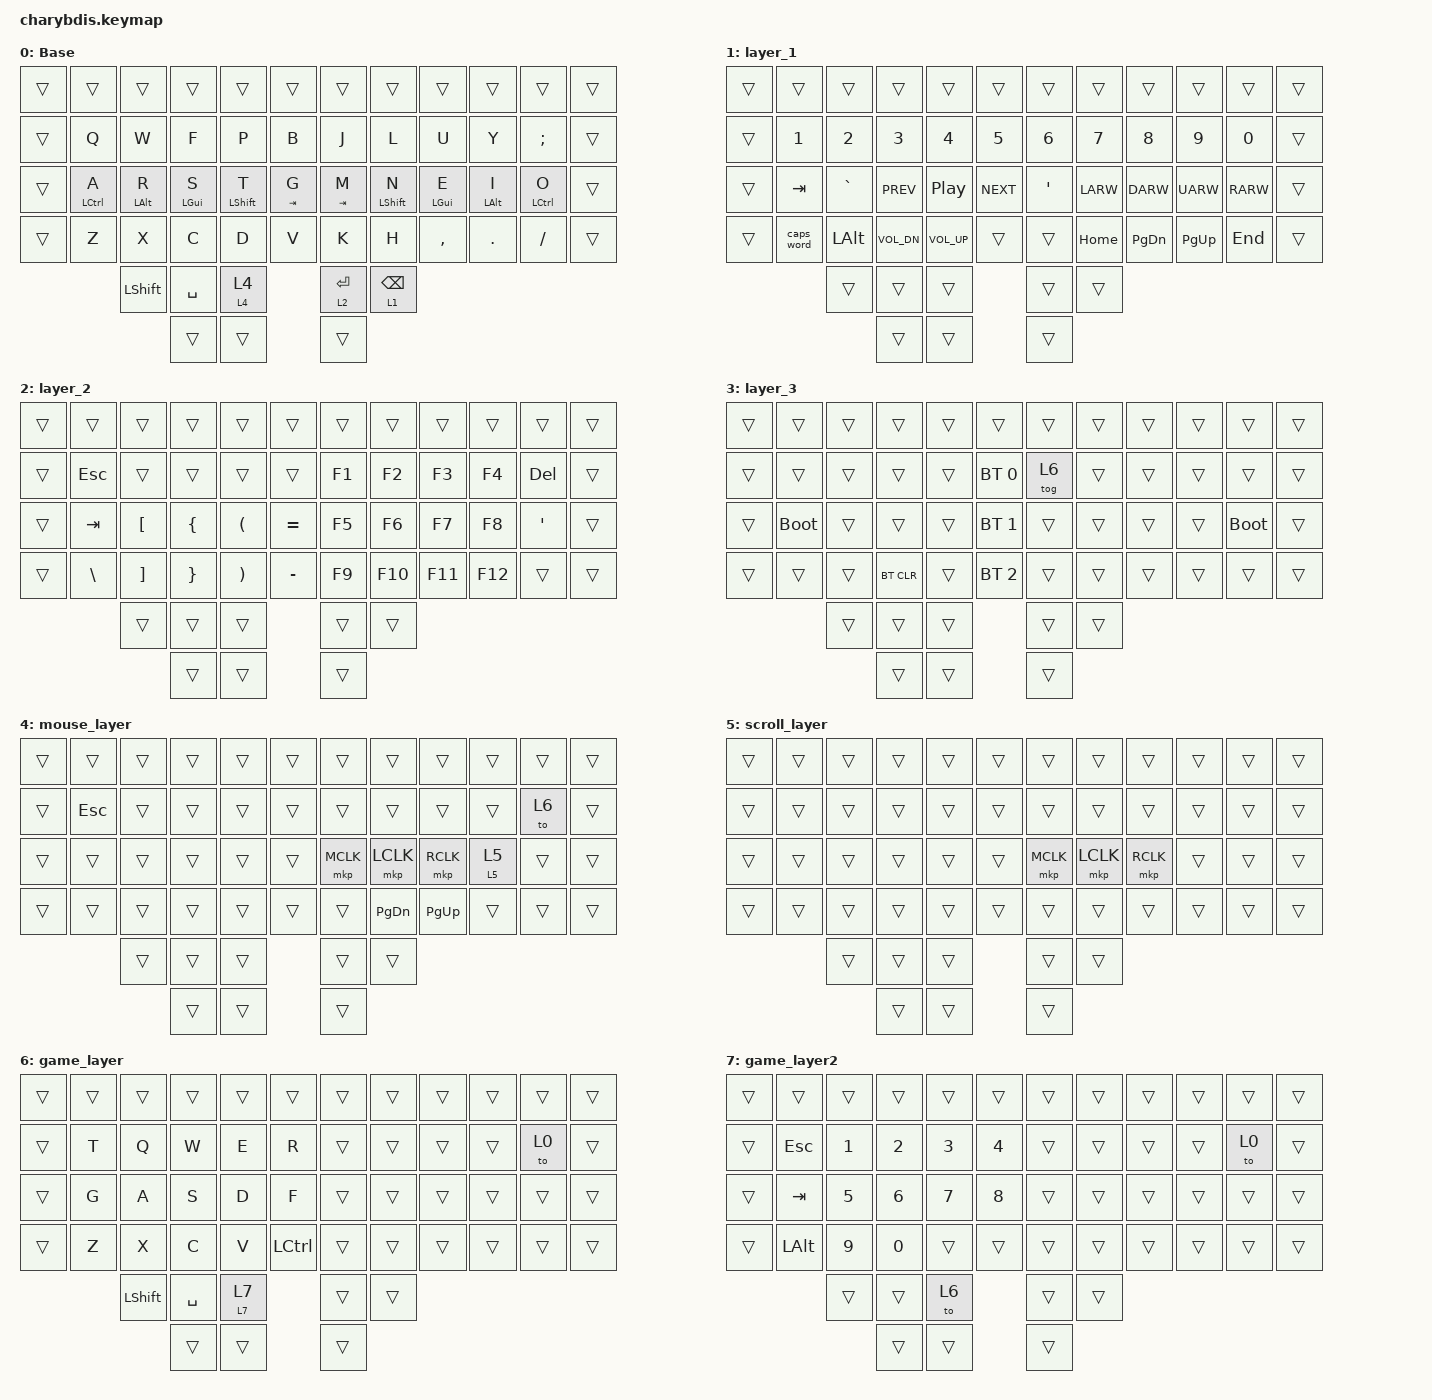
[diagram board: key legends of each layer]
#include <behaviors.dtsi>
#include <dt-bindings/zmk/bt.h>
#include <dt-bindings/zmk/keys.h>
#include <dt-bindings/zmk/mouse.h>

&lt {
    tapping-term-ms = <200>;
    flavor = "balanced";
    quick-tap-ms = <150>;
};

/{
    combos {
        compatible = "zmk,combos";

        escc {
            bindings = <&kp ESC>;
            key-positions = <17 18>;
            layers = <0>;
        };
    };
    behaviors {
        ht: hold_tap {
            compatible = "zmk,behavior-hold-tap";
            #binding-cells = <2>;
            flavor = "tap-preferred";
            tapping-term-ms = <220>;
            quick-tap-ms = <150>;
            bindings = <&kp>, <&kp>;
            label = "holdtap";
        };
        mo_tog: behavior_mo_tog {
            compatible = "zmk,behavior-hold-tap";
            #binding-cells = <2>;
            flavor = "hold-preferred";
            tapping-term-ms = <200>;
            bindings = <&mo>, <&tog>;
            label = "modtog";
        };
    };
    conditional_layers {
        compatible = "zmk,conditional-layers";
        tri_layer {
            if-layers = <1 2>;
            then-layer = <3>;
        };
    };
    keymap {
        compatible = "zmk,keymap";

        Base {
            bindings = <
&trans  &trans       &trans      &trans        &trans      &trans            &trans          &trans           &trans     &trans      &trans         &trans
&trans  &kp Q        &kp W       &kp F         &kp P       &kp B             &kp J           &kp L            &kp U      &kp Y       &kp SEMI       &trans
&trans  &ht LCTRL A  &ht LALT R  &ht LGUI S    &ht LSHFT T &ht TAB G         &ht TAB M       &ht LSHFT N      &ht LGUI E &ht LALT I  &ht LCTRL O    &trans
&trans  &kp Z        &kp X       &kp C         &kp D       &kp V             &kp K           &kp H            &kp COMMA  &kp PERIOD  &kp SLASH      &trans
                     &kp LSHFT   &kp SPACE     &mo_tog 4 4                   &lt 2 ENTER     &lt 1 BSPC
                                        &trans     &trans                    &trans
            >;
            trackball-bindings = <&tmv_coarse>;
        };

        layer_1 {
            bindings = <
&trans  &trans     &trans     &trans        &trans     &trans        &trans      &trans     &trans     &trans      &trans         &trans
&trans  &kp N1     &kp N2     &kp N3        &kp N4     &kp N5        &kp N6      &kp N7     &kp N8     &kp N9      &kp N0         &trans
&trans  &kp TAB    &kp GRAVE  &kp C_PREV    &kp C_PP   &kp C_NEXT    &kp SQT     &kp LARW   &kp DARW   &kp UARW    &kp RARW       &trans
&trans  &caps_word &kp LALT  &kp C_VOL_DN  &kp C_VOL_UP &trans      &trans      &kp HOME   &kp PG_DN  &kp PG_UP   &kp END        &trans
                              &trans        &trans     &trans        &trans      &trans
                                            &trans     &trans        &trans
            >;
        };

        layer_2 {
            bindings = <
&trans  &trans   &trans    &trans      &trans     &trans            &trans    &trans   &trans     &trans      &trans      &trans
&trans  &kp ESC  &trans    &trans      &trans     &trans            &kp F1    &kp F2   &kp F3     &kp F4      &kp DEL     &trans
&trans  &kp TAB  &kp LBKT  &kp LBRC    &kp LPAR   &kp EQUAL         &kp F5    &kp F6   &kp F7     &kp F8      &kp SQT     &trans
&trans  &kp BSLH &kp RBKT  &kp RBRC    &kp RPAR   &kp MINUS         &kp F9    &kp F10  &kp F11    &kp F12     &trans      &trans
                           &trans      &trans     &trans            &trans          &trans
                                       &trans     &trans            &trans
            >;
        };

        layer_3 {
            bindings = <
&trans  &trans       &trans     &trans     &trans     &trans          &trans     &trans     &trans     &trans    &trans      &trans
&trans  &trans       &trans     &trans     &trans     &bt BT_SEL 0    &tog 6     &trans     &trans     &trans    &trans      &trans
&trans  &bootloader  &trans     &trans     &trans     &bt BT_SEL 1    &trans     &trans     &trans     &trans    &bootloader &trans
&trans  &trans       &trans     &bt BT_CLR &trans     &bt BT_SEL 2    &trans     &trans     &trans     &trans    &trans      &trans
                        &trans          &trans     &trans             &trans          &trans
                                        &trans     &trans             &trans
            >;
        };

        mouse_layer {
            bindings = <
&trans &trans  &trans  &trans          &trans     &trans            &trans          &trans           &trans         &trans      &trans         &trans
&trans  &kp ESC  &trans  &trans          &trans     &trans            &trans          &trans           &trans         &trans      &to 6          &trans
&trans  &trans  &trans  &trans          &trans     &trans            &mkp MCLK       &mkp LCLK        &mkp RCLK      &mo_tog 5 5 &trans         &trans
&trans  &trans  &trans  &trans          &trans     &trans            &trans          &kp PG_DN        &kp PG_UP      &trans      &trans         &trans
                        &trans          &trans     &trans            &trans          &trans
                                        &trans     &trans            &trans
            >;
            trackball-bindings = <&tmv_coarse>;
        };

        scroll_layer {
            bindings = <
&trans  &trans  &trans  &trans          &trans     &trans            &trans          &trans           &trans     &trans      &trans         &trans
&trans  &trans  &trans  &trans          &trans     &trans            &trans          &trans           &trans     &trans      &trans         &trans
&trans  &trans  &trans  &trans          &trans     &trans            &mkp MCLK       &mkp LCLK        &mkp RCLK  &trans      &trans         &trans
&trans  &trans  &trans  &trans          &trans     &trans            &trans          &trans           &trans     &trans      &trans         &trans
                        &trans          &trans     &trans            &trans          &trans
                                        &trans     &trans            &trans
            >;
            trackball-bindings = <&tsl>;
        };
        game_layer {
            bindings = <
&trans  &trans  &trans  &trans          &trans     &trans            &trans          &trans           &trans     &trans      &trans         &trans
&trans  &kp T  &kp Q   &kp W           &kp E      &kp R             &trans          &trans           &trans     &trans      &to 0          &trans
&trans  &kp G  &kp A   &kp S           &kp D      &kp F             &trans          &trans           &trans     &trans      &trans         &trans
&trans  &kp Z   &kp X   &kp C           &kp V     &kp LCTRL         &trans          &trans           &trans     &trans      &trans         &trans
                        &kp LSHFT       &kp SPACE  &mo_tog 7 7       &trans          &trans
                                        &trans     &trans            &trans
            >;
            trackball-bindings = <&tsl>;
        };
        game_layer2 {
            bindings = <
&trans  &trans  &trans  &trans          &trans     &trans            &trans          &trans           &trans     &trans      &trans         &trans
&trans  &kp ESC &kp N1  &kp N2          &kp N3     &kp N4            &trans          &trans           &trans     &trans      &to 0          &trans
&trans  &kp TAB &kp N5  &kp N6          &kp N7     &kp N8            &trans          &trans           &trans     &trans      &trans         &trans
&trans &kp LALT &kp N9  &kp N0          &trans     &trans            &trans          &trans           &trans     &trans      &trans         &trans
                        &trans          &trans     &to 6             &trans          &trans
                                        &trans     &trans            &trans
            >;
            trackball-bindings = <&tsl>;
        };
    };
};
